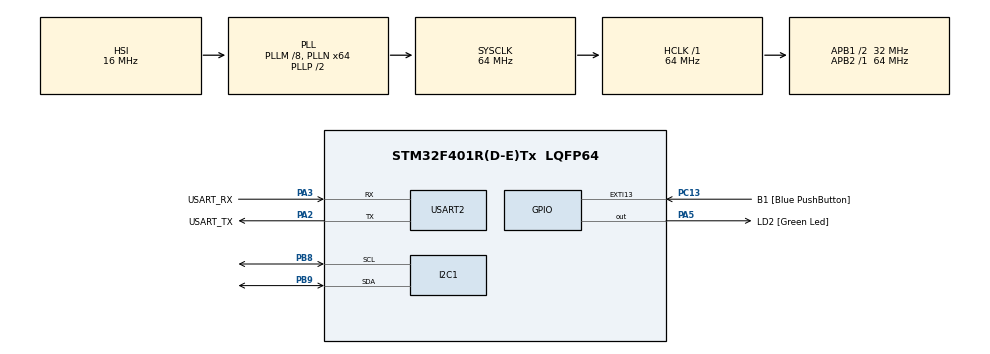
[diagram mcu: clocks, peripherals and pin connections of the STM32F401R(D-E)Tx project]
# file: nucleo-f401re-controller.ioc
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FREERTOS.Events01=newOrientation,Dynamic,NULL
FREERTOS.Mutexes01=globalPos,Dynamic,NULL;motorCommand,Dynamic,NULL
FREERTOS.Tasks01=defaultTask,16,512,StartDefaultTask,Default,NULL,Dynamic,NULL,NULL;readIMU,24,512,ReadIMU,Default,NULL,Dynamic,NULL,NULL;evaluatePID,40,512,EvaluatePID,Default,NULL,Dynamic,NULL,NULL
Mcu.Family=STM32F4
Mcu.Name=STM32F401R(D-E)Tx
Mcu.Package=LQFP64
NVIC.PriorityGroup=NVIC_PRIORITYGROUP_4
NVIC.TIM1_UP_TIM10_IRQn=true\:15\:0\:false\:false\:true\:false\:false\:true\:true
NVIC.TimeBase=TIM1_UP_TIM10_IRQn
NVIC.TimeBaseIP=TIM10
PA13.GPIO_Label=TMS
PA13.Mode=Serial_Wire
PA13.Signal=SYS_JTMS-SWDIO
PA14.GPIO_Label=TCK
PA14.Mode=Serial_Wire
PA14.Signal=SYS_JTCK-SWCLK
PA2.GPIO_Label=USART_TX
PA2.GPIO_Mode=GPIO_MODE_AF_PP
PA2.GPIO_PuPd=GPIO_NOPULL
PA2.GPIO_Speed=GPIO_SPEED_FREQ_LOW
PA2.Mode=Asynchronous
PA2.Signal=USART2_TX
PA3.GPIO_Label=USART_RX
PA3.GPIO_Mode=GPIO_MODE_AF_PP
PA3.GPIO_PuPd=GPIO_NOPULL
PA3.GPIO_Speed=GPIO_SPEED_FREQ_LOW
PA3.Mode=Asynchronous
PA3.Signal=USART2_RX
PA5.GPIO_Label=LD2 [Green Led]
PA5.GPIO_Mode=GPIO_MODE_OUTPUT_PP
PA5.GPIO_PuPd=GPIO_NOPULL
PA5.GPIO_Speed=GPIO_SPEED_FREQ_LOW
PA5.Signal=GPIO_Output
PB3.GPIO_Label=SWO
PB3.Signal=SYS_JTDO-SWO
PB8.Mode=I2C
PB8.Signal=I2C1_SCL
PB9.Mode=I2C
PB9.Signal=I2C1_SDA
PC13-ANTI_TAMP.GPIO_Label=B1 [Blue PushButton]
PC13-ANTI_TAMP.GPIO_ModeDefaultEXTI=GPIO_MODE_IT_FALLING
PC13-ANTI_TAMP.GPIO_PuPd=GPIO_NOPULL
PC13-ANTI_TAMP.Signal=GPXTI13
PC14-OSC32_IN.Signal=RCC_OSC32_IN
PC15-OSC32_OUT.Signal=RCC_OSC32_OUT
PH0\ -\ OSC_IN.Signal=RCC_OSC_IN
PH1\ -\ OSC_OUT.Signal=RCC_OSC_OUT
ProjectManager.HeapSize=0x200
ProjectManager.StackSize=0x400
ProjectManager.TargetToolchain=STM32CubeIDE
RCC.48MHZClocksFreq_Value=18285714.285714287
RCC.AHBFreq_Value=64000000
RCC.APB1CLKDivider=RCC_HCLK_DIV2
RCC.APB1Freq_Value=32000000
RCC.APB1TimFreq_Value=64000000
RCC.APB2Freq_Value=64000000
RCC.APB2TimFreq_Value=64000000
RCC.CortexFreq_Value=64000000
RCC.HCLKFreq_Value=64000000
RCC.HSE_VALUE=8000000
RCC.HSI_VALUE=16000000
RCC.LSE_VALUE=32768
RCC.PLLM=8
RCC.PLLN=64
RCC.PLLQ=7
RCC.SYSCLKFreq_VALUE=64000000
RCC.SYSCLKSource=RCC_SYSCLKSOURCE_PLLCLK
RCC.VCOOutputFreq_Value=128000000
USART2.VirtualMode=VM_ASYNC
VP_FREERTOS_VS_CMSIS_V2.Mode=CMSIS_V2
VP_SYS_VS_tim10.Mode=TIM10
board=NUCLEO-F401RE

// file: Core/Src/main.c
/* USER CODE BEGIN Header */
/**
  ******************************************************************************
  * @file           : main.c
  * @brief          : Main program body
  ******************************************************************************
  * @attention
  *
  * Copyright (c) 2023 STMicroelectronics.
  * All rights reserved.
  *
  * This software is licensed under terms that can be found in the LICENSE file
  * in the root directory of this software component.
  * If no LICENSE file comes with this software, it is provided AS-IS.
  *
  ******************************************************************************
  */
/* USER CODE END Header */
#include "main.h"
#include "cmsis_os.h"

/* USER CODE BEGIN Includes */
#include <math.h>
#include <string.h>
#include <stdio.h>
#include <stdlib.h>

#include "bno055_stm32.h"
/* USER CODE END Includes */

I2C_HandleTypeDef hi2c1;

UART_HandleTypeDef huart2;

/* Definitions for defaultTask */
osThreadId_t defaultTaskHandle;
const osThreadAttr_t defaultTask_attributes = {
  .name = "defaultTask",
  .stack_size = 512 * 4,
  .priority = (osPriority_t) osPriorityBelowNormal,
};
/* Definitions for readIMU */
osThreadId_t readIMUHandle;
const osThreadAttr_t readIMU_attributes = {
  .name = "readIMU",
  .stack_size = 512 * 4,
  .priority = (osPriority_t) osPriorityNormal,
};
/* Definitions for evaluatePID */
osThreadId_t evaluatePIDHandle;
const osThreadAttr_t evaluatePID_attributes = {
  .name = "evaluatePID",
  .stack_size = 512 * 4,
  .priority = (osPriority_t) osPriorityHigh,
};
/* Definitions for globalPos */
osMutexId_t globalPosHandle;
const osMutexAttr_t globalPos_attributes = {
  .name = "globalPos"
};
/* Definitions for motorCommand */
osMutexId_t motorCommandHandle;
const osMutexAttr_t motorCommand_attributes = {
  .name = "motorCommand"
};
/* Definitions for newOrientation */
osEventFlagsId_t newOrientationHandle;
const osEventFlagsAttr_t newOrientation_attributes = {
  .name = "newOrientation"
};
/* USER CODE BEGIN PV */
typedef struct {
  bno055_vector_t vec;
  uint32_t t;
} tVec_t;

const bno055_vector_t vPosSetpoint = {0.0, 0.0, 0.0, 0.0};
const double daGains[] = {1.0, 0.1, 0.1};

tVec_t tvPos;
tVec_t tvRate;
tVec_t tvAccel;

tVec_t tvMotorCommand;
/* USER CODE END PV */

void SystemClock_Config(void);
static void MX_GPIO_Init(void);
static void MX_I2C1_Init(void);
static void MX_USART2_UART_Init(void);
void StartDefaultTask(void *argument);
void ReadIMU(void *argument);
void EvaluatePID(void *argument);

/* USER CODE BEGIN 0 */
static void tvec_toString(char* out, tVec_t tv) {
	int xInt1 = floor(tv.vec.x);
	int xInt2 = trunc((tv.vec.x - xInt1) * 100);

	int yInt1 = floor(tv.vec.y);
	int yInt2 = trunc((tv.vec.y - yInt1) * 100);

	int zInt1 = floor(tv.vec.z);
	int zInt2 = trunc((tv.vec.z - zInt1) * 100);

	sprintf(out, "%lu: Yaw: %d.%02d, Roll: %d.%02d, Pitch: %d.%02d\r\n",
            tv.t, xInt1, xInt2, yInt1, yInt2, zInt1, zInt2);
}

int _write(int file, char *ptr, int len)
{
	HAL_UART_Transmit(&huart2, (uint8_t*)ptr, len, HAL_MAX_DELAY);
	return len;
}

int __io_putchar(int ch)
{
  HAL_UART_Transmit(&huart2, (uint8_t *)&ch, 1, 0xFFFF);

  return ch;
}

double dSign(double x)
{
	if (x > 0) return 1.0;
	if (x < 0) return -1.0;
	return 0.0;
}
/* USER CODE END 0 */

int main(void)
{

  /* MCU Configuration--------------------------------------------------------*/

  /* Reset of all peripherals, Initializes the Flash interface and the Systick. */
  HAL_Init();

  /* Configure the system clock */
  SystemClock_Config();

  /* Initialize all configured peripherals */
  MX_GPIO_Init();
  MX_I2C1_Init();
  MX_USART2_UART_Init();
  /* USER CODE BEGIN 2 */
  bno055_assignI2C(&hi2c1);
  bno055_setup();
  bno055_setOperationModeNDOF();
  /* USER CODE END 2 */

  /* Init scheduler */
  osKernelInitialize();
  /* Create the mutex(es) */
  /* creation of globalPos */
  globalPosHandle = osMutexNew(&globalPos_attributes);

  /* creation of motorCommand */
  motorCommandHandle = osMutexNew(&motorCommand_attributes);

  /* Create the thread(s) */
  /* creation of defaultTask */
  defaultTaskHandle = osThreadNew(StartDefaultTask, NULL, &defaultTask_attributes);

  /* creation of readIMU */
  readIMUHandle = osThreadNew(ReadIMU, NULL, &readIMU_attributes);

  /* creation of evaluatePID */
  evaluatePIDHandle = osThreadNew(EvaluatePID, NULL, &evaluatePID_attributes);

  /* creation of newOrientation */
  newOrientationHandle = osEventFlagsNew(&newOrientation_attributes);

  /* Start scheduler */
  osKernelStart();
  /* We should never get here as control is now taken by the scheduler */
  /* Infinite loop */
  while (1)
  {

  }
}

void SystemClock_Config(void)
{
  RCC_OscInitTypeDef RCC_OscInitStruct = {0};
  RCC_ClkInitTypeDef RCC_ClkInitStruct = {0};

  /** Configure the main internal regulator output voltage
  */
  __HAL_RCC_PWR_CLK_ENABLE();
  __HAL_PWR_VOLTAGESCALING_CONFIG(PWR_REGULATOR_VOLTAGE_SCALE2);

  /** Initializes the RCC Oscillators according to the specified parameters
  * in the RCC_OscInitTypeDef structure.
  */
  RCC_OscInitStruct.OscillatorType = RCC_OSCILLATORTYPE_HSI;
  RCC_OscInitStruct.HSIState = RCC_HSI_ON;
  RCC_OscInitStruct.HSICalibrationValue = RCC_HSICALIBRATION_DEFAULT;
  RCC_OscInitStruct.PLL.PLLState = RCC_PLL_ON;
  RCC_OscInitStruct.PLL.PLLSource = RCC_PLLSOURCE_HSI;
  RCC_OscInitStruct.PLL.PLLM = 8;
  RCC_OscInitStruct.PLL.PLLN = 64;
  RCC_OscInitStruct.PLL.PLLP = RCC_PLLP_DIV2;
  RCC_OscInitStruct.PLL.PLLQ = 7;
  if (HAL_RCC_OscConfig(&RCC_OscInitStruct) != HAL_OK)
  {
    Error_Handler();
  }

  /** Initializes the CPU, AHB and APB buses clocks
  */
  RCC_ClkInitStruct.ClockType = RCC_CLOCKTYPE_HCLK|RCC_CLOCKTYPE_SYSCLK
                              |RCC_CLOCKTYPE_PCLK1|RCC_CLOCKTYPE_PCLK2;
  RCC_ClkInitStruct.SYSCLKSource = RCC_SYSCLKSOURCE_PLLCLK;
  RCC_ClkInitStruct.AHBCLKDivider = RCC_SYSCLK_DIV1;
  RCC_ClkInitStruct.APB1CLKDivider = RCC_HCLK_DIV2;
  RCC_ClkInitStruct.APB2CLKDivider = RCC_HCLK_DIV1;

  if (HAL_RCC_ClockConfig(&RCC_ClkInitStruct, FLASH_LATENCY_2) != HAL_OK)
  {
    Error_Handler();
  }
}

static void MX_I2C1_Init(void)
{

  hi2c1.Instance = I2C1;
  hi2c1.Init.ClockSpeed = 100000;
  hi2c1.Init.DutyCycle = I2C_DUTYCYCLE_2;
  hi2c1.Init.OwnAddress1 = 0;
  hi2c1.Init.AddressingMode = I2C_ADDRESSINGMODE_7BIT;
  hi2c1.Init.DualAddressMode = I2C_DUALADDRESS_DISABLE;
  hi2c1.Init.OwnAddress2 = 0;
  hi2c1.Init.GeneralCallMode = I2C_GENERALCALL_DISABLE;
  hi2c1.Init.NoStretchMode = I2C_NOSTRETCH_DISABLE;
  if (HAL_I2C_Init(&hi2c1) != HAL_OK)
  {
    Error_Handler();
  }

}

static void MX_USART2_UART_Init(void)
{

  huart2.Instance = USART2;
  huart2.Init.BaudRate = 115200;
  huart2.Init.WordLength = UART_WORDLENGTH_8B;
  huart2.Init.StopBits = UART_STOPBITS_1;
  huart2.Init.Parity = UART_PARITY_NONE;
  huart2.Init.Mode = UART_MODE_TX_RX;
  huart2.Init.HwFlowCtl = UART_HWCONTROL_NONE;
  huart2.Init.OverSampling = UART_OVERSAMPLING_16;
  if (HAL_UART_Init(&huart2) != HAL_OK)
  {
    Error_Handler();
  }

}

static void MX_GPIO_Init(void)
{
  GPIO_InitTypeDef GPIO_InitStruct = {0};

  /* GPIO Ports Clock Enable */
  __HAL_RCC_GPIOC_CLK_ENABLE();
  __HAL_RCC_GPIOH_CLK_ENABLE();
  __HAL_RCC_GPIOA_CLK_ENABLE();
  __HAL_RCC_GPIOB_CLK_ENABLE();

  /*Configure GPIO pin Output Level */
  HAL_GPIO_WritePin(LD2_GPIO_Port, LD2_Pin, GPIO_PIN_RESET);

  /*Configure GPIO pin : B1_Pin */
  GPIO_InitStruct.Pin = B1_Pin;
  GPIO_InitStruct.Mode = GPIO_MODE_IT_FALLING;
  GPIO_InitStruct.Pull = GPIO_NOPULL;
  HAL_GPIO_Init(B1_GPIO_Port, &GPIO_InitStruct);

  /*Configure GPIO pin : LD2_Pin */
  GPIO_InitStruct.Pin = LD2_Pin;
  GPIO_InitStruct.Mode = GPIO_MODE_OUTPUT_PP;
  GPIO_InitStruct.Pull = GPIO_NOPULL;
  GPIO_InitStruct.Speed = GPIO_SPEED_FREQ_LOW;
  HAL_GPIO_Init(LD2_GPIO_Port, &GPIO_InitStruct);

}

void StartDefaultTask(void *argument)
{
  /* USER CODE BEGIN 5 */
  char orientation[100];
  char motorCommand[100];
  /* Infinite loop */
  for(;;)
  {
    HAL_GPIO_TogglePin(GPIOA, GPIO_PIN_5);

    osMutexAcquire(globalPosHandle, 200);
    tvec_toString(orientation, tvPos);
    osMutexRelease(globalPosHandle);

    osMutexAcquire(motorCommandHandle, 200);
    tvec_toString(motorCommand, tvMotorCommand);
    osMutexRelease(motorCommandHandle);

    HAL_UART_Transmit(&huart2, (uint8_t*)motorCommand, sizeof(uint8_t)*strlen(motorCommand), HAL_MAX_DELAY);

    osDelay(200);
  }
  /* USER CODE END 5 */
}

void ReadIMU(void *argument)
{
  /* USER CODE BEGIN ReadIMU */

  /* Infinite loop */
  for(;;)
  {
    osMutexAcquire(globalPosHandle, 0);
    tvPos.vec = bno055_getVectorEuler();

    /* set yaw to between -180 and 180 */
    if (tvPos.vec.x > 180) tvPos.vec.x = tvPos.vec.x - 360;

    tvPos.t = HAL_GetTick();
    osMutexRelease(globalPosHandle);

    osEventFlagsSet(newOrientationHandle, 1);

    osDelay(20);
  }
  /* USER CODE END ReadIMU */
}

void EvaluatePID(void *argument)
{
  /* USER CODE BEGIN EvaluatePID */
  bno055_vector_t vCumulative = {0.0, 0.0, 0.0, 0.0};
  bno055_vector_t vDerivative = {0.0, 0.0, 0.0, 0.0};

  tVec_t tvError, tvLastError;
  bno055_vector_t vError, vLastError;

  double dt;

  /* Infinite loop */
  for(;;)
  {
    /* wait for a new orientation reading*/
    osEventFlagsWait(newOrientationHandle, 1, osFlagsWaitAll, osWaitForever);
    osEventFlagsClear(newOrientationHandle, 1);

    tvLastError = tvError;

    /* calculate error vector from current orientation */
    osMutexAcquire(globalPosHandle, 0);
    tvError.t = tvPos.t;
    tvError.vec.x = vPosSetpoint.x - tvPos.vec.x;

    tvError.vec.y = vPosSetpoint.y - tvPos.vec.y;
    tvError.vec.z = vPosSetpoint.z - tvPos.vec.z;
    osMutexRelease(globalPosHandle);

    vError = tvError.vec;
    vLastError = tvLastError.vec;
    dt = (tvError.t - tvLastError.t) / 1000.0;

    /* set cumulative error vector */
    vCumulative.x +=  vError.x;
    vCumulative.y +=  vError.y;
    vCumulative.z +=  vError.z;

    /* set derivative error vector */
    vDerivative.x = dSign(fmod(fabs(vError.x - vLastError.x),180)) / dt;
    vDerivative.y = dSign(fmod(fabs(vError.y - vLastError.y),180)) / dt;
    vDerivative.z = dSign(fmod(fabs(vError.z - vLastError.z),180)) / dt;

    /* set desired rate vector */
    osMutexAcquire(motorCommandHandle, 0);

    tvMotorCommand.t = HAL_GetTick() - tvError.t;

    tvMotorCommand.vec.x = daGains[0] * vError.x
                         + daGains[1] * vCumulative.x
                         + daGains[2] * vDerivative.x;

    tvMotorCommand.vec.y = daGains[0] * vError.y
                         + daGains[1] * vCumulative.y
                         + daGains[2] * vDerivative.y;

    tvMotorCommand.vec.z = daGains[0] * vError.z
                         + daGains[1] * vCumulative.z
                         + daGains[2] * vDerivative.z;

    osMutexRelease(motorCommandHandle);

    osDelay(20);
  }
  /* USER CODE END EvaluatePID */
}

void HAL_TIM_PeriodElapsedCallback(TIM_HandleTypeDef *htim)
{
  if (htim->Instance == TIM10) {
    HAL_IncTick();
  }
}

void Error_Handler(void)
{
  __disable_irq();
  while (1)
  {
  }
}
